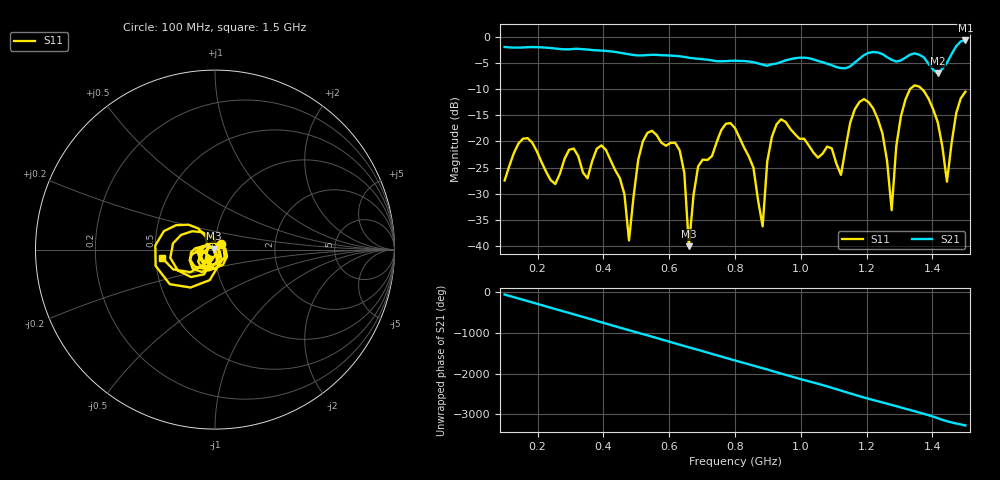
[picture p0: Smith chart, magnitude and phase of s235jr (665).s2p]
! NanoVNA-App
! Date: 2025-09-25 15:09:21
! Start: 100MHz Stop: 1,5GHz Points: 101
! S-Parameter data: F S11 S21 S12 S22
# Hz S RI R 50
!  Frequency  S11_Real  S11_Imag  S21_Real  S21_Imag  S12_Real  S12_Imag  S22_Real  S22_Imag
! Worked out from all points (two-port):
!   101 points, 100 MHz to 1.5 GHz, reference 50 ohm
!   highest |S21| = -0.72 dB at 1.5 GHz (marker M1); lowest = -7.0 dB at 1.416 GHz (marker M2)
!   |S21| within 3 dB of the highest: start of sweep to 627.6 MHz; 1.188 GHz to 1.257 GHz (69.54 MHz wide, 5.69 % of centre) (the widest 2 of 4)
!   lowest |S11| = -40.0 dB at 660 MHz (marker M3), VSWR 1.02, Z = 49.2 + j0.568 ohm
!   |S11| at or under -10 dB: start of sweep to 1.332 GHz; 1.368 GHz to end of sweep
!   S12 and S22 are empty: the file has one direction only
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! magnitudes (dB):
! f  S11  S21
! 100 MHz  -27.5  -2.0
! 170 MHz  -19.4  -2.0
! 338 MHz  -25.9  -2.4
! 408 MHz  -21.6  -2.7
! 478 MHz  -38.9  -3.4
! 520 MHz  -20.0  -3.6
! 576 MHz  -20.2  -3.5
! 632 MHz  -21.7  -3.7
! 660 MHz  -40.0  -4.0
! 688 MHz  -24.8  -4.2
! 800 MHz  -17.5  -4.6
! 884 MHz  -36.2  -5.4
! 926 MHz  -16.8  -5.1
! 1.038 GHz  -22.1  -4.3
! 1.122 GHz  -26.4  -6.0
! 1.206 GHz  -12.5  -3.1
! 1.276 GHz  -33.1  -4.4
! 1.29 GHz  -20.9  -4.7
! 1.332 GHz  -10.0  -3.4
! 1.416 GHz  -16.4  -7.0
! 1.444 GHz  -27.7  -5.0
! 1.5 GHz  -10.5  -0.7
